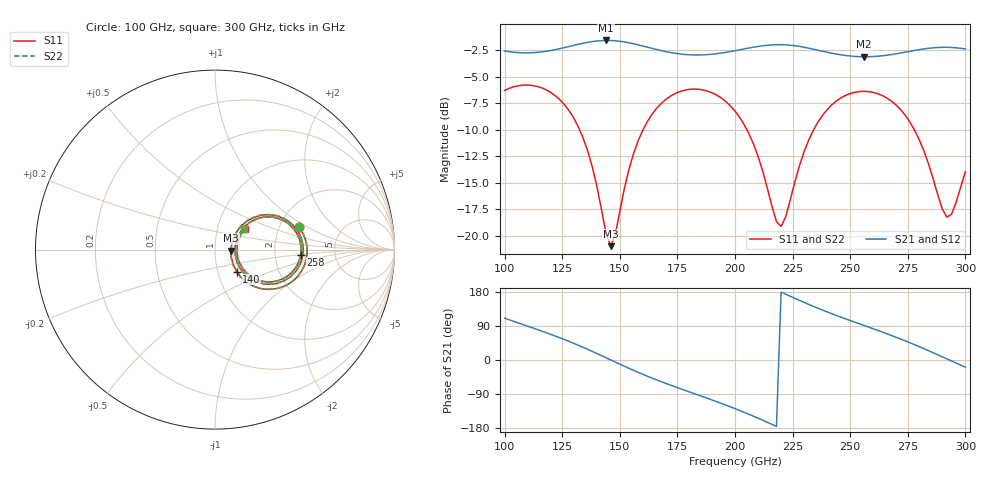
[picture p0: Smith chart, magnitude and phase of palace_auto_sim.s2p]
#  GHZ S DB R 50
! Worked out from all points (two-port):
!   101 points, 100 GHz to 300 GHz, reference 50 ohm
!   highest |S21| = -1.58 dB at 144 GHz (marker M1); lowest = -3.1 dB at 256 GHz (marker M2)
!   |S21| within 3 dB of the highest: start of sweep to end of sweep
!   lowest |S11| = -21.0 dB at 146 GHz (marker M3), VSWR 1.20, Z = 59.8 - j0.616 ohm
!   |S11| at or under -10 dB: 132.5 GHz to 160.1 GHz (27.57 GHz wide, 18.8 % of centre); 205.1 GHz to 234.1 GHz (29 GHz wide, 13.2 % of centre); 277.8 GHz to end of sweep
!   |S22| runs from -21.2 to -5.8 dB; largest |S21 - S12| = 9.3e-14
!   S11 on the Smith chart (normalised r, x): 100 GHz: 2.56, +0.84; 140 GHz: 1.23, -0.31; 258 GHz: 2.82, -0.21; 300 GHz: 1.35, +0.32
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100  -6.29 14.9  -2.58 110.4  -2.58 110.4  -6.29 14.9
110  -5.79 -2.7  -2.76 89.3  -2.76 89.3  -5.79 -2.8
120  -6.48 -20.5  -2.53 67.7  -2.53 67.7  -6.49 -20.6
134  -10.74 -43.9  -1.85 33.6  -1.85 33.6  -10.76 -44.2
140  -15.29 -45.4  -1.64 17.3  -1.64 17.3  -15.34 -45.9
144  -19.76 -26.6  -1.58 6.0  -1.58 6.0  -19.91 -27.1
146  -20.98 -3.3  -1.59 0.3  -1.59 0.3  -21.19 -3.2
156  -12.24 41.5  -1.89 -27.4  -1.89 -27.4  -12.26 42.0
168  -7.52 24.3  -2.54 -57.2  -2.54 -57.2  -7.52 24.6
184  -6.18 -3.1  -2.95 -92.4  -2.95 -92.4  -6.18 -2.9
200  -8.24 -29.3  -2.55 -128.3  -2.55 -128.3  -8.24 -29.1
212  -13.89 -39.2  -2.09 -158.9  -2.09 -158.9  -13.88 -38.9
218  -18.66 -15.6  -1.98 -175.3  -1.98 -175.3  -18.61 -15.4
220  -19.12 2.5  -1.98 179.2  -1.98 179.2  -19.05 2.6
234  -10.05 34.7  -2.41 141.6  -2.41 141.6  -10.05 34.6
244  -7.29 19.8  -2.86 117.6  -2.86 117.6  -7.29 19.7
256  -6.38 -0.2  -3.12 91.1  -3.12 91.1  -6.38 -0.2
258  -6.41 -3.5  -3.12 86.8  -3.12 86.8  -6.40 -3.6
268  -7.32 -19.9  -2.91 64.5  -2.91 64.5  -7.32 -20.0
280  -10.96 -35.8  -2.45 35.1  -2.45 35.1  -10.97 -36.1
292  -18.25 -4.3  -2.23 2.9  -2.23 2.9  -18.35 -4.5
300  -13.95 34.5  -2.39 -18.8  -2.39 -18.8  -14.01 34.8
